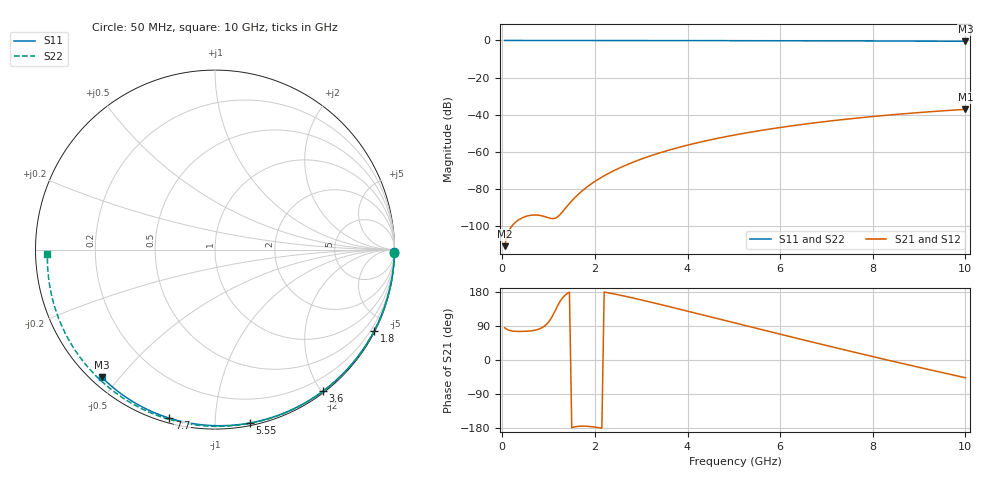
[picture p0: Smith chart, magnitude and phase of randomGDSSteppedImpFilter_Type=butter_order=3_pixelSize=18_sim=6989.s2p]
! freq	dB(S11)	phase(S11)	dB(S12)	phase(S12)
!  dB(S21)	phase(S21)	dB(S22)	phase(S22)
!S-par simulation data
#  GHz  S  DB  R 50
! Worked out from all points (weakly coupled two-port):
!   200 points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, 50 MHz to 10 GHz, reference 50 ohm
!   highest |S21| = -37.17 dB at 10 GHz (marker M1); lowest = -111.0 dB at 50 MHz (marker M2)
!   lowest |S11| = -0.4 dB at 10 GHz (marker M3), VSWR 39.33, Z = 1.53 - j22.5 ohm
!   |S11| at or under -10 dB: nowhere
!   |S22| runs from -0.6 to 0.0 dB; largest |S21 - S12| = 0
!   S11 on the Smith chart (normalised r, x): 50 MHz: open; 1.8 GHz: 0.04, -4.17; 3.6 GHz: 0.02, -2.02; 5.55 GHz: 0.02, -1.22; 7.7 GHz: 0.02, -0.77; 10 GHz: 0.03, -0.45
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0.05  -0.00 -0.8  -110.98 85.0  -110.98 85.0  -0.00 -1.0
0.45  -0.01 -6.8  -95.48 75.5  -95.48 75.5  -0.01 -9.0
0.85  -0.02 -12.9  -94.58 84.7  -94.58 84.7  -0.02 -16.9
1.3  -0.02 -19.6  -92.44 163.9  -92.44 163.9  -0.03 -25.8
1.75  -0.03 -26.2  -80.61 -174.6  -80.61 -174.6  -0.04 -34.5
1.8  -0.03 -27.0  -79.61 -174.7  -79.61 -174.7  -0.04 -35.5
1.95  -0.04 -29.2  -76.88 -176.2  -76.88 -176.2  -0.05 -38.3
2.1  -0.04 -31.3  -74.47 -178.7  -74.47 -178.7  -0.05 -41.2
2.3  -0.04 -34.3  -71.64 177.1  -71.64 177.1  -0.06 -45.0
2.5  -0.05 -37.1  -69.16 172.2  -69.16 172.2  -0.06 -48.8
2.9  -0.06 -42.9  -64.94 161.4  -64.94 161.4  -0.07 -56.2
3.4  -0.07 -49.9  -60.64 146.9  -60.64 146.9  -0.09 -65.4
3.6  -0.07 -52.7  -59.16 141.0  -59.16 141.0  -0.09 -69.0
4.3  -0.09 -62.3  -54.68 119.8  -54.68 119.8  -0.12 -81.4
5.05  -0.11 -72.2  -50.84 96.9  -50.84 96.9  -0.15 -94.4
5.55  -0.13 -78.7  -48.68 81.6  -48.68 81.6  -0.17 -102.8
6.1  -0.15 -85.7  -46.59 65.0  -46.59 65.0  -0.20 -112.0
6.7  -0.18 -93.1  -44.59 47.1  -44.59 47.1  -0.24 -121.9
7.7  -0.24 -105.1  -41.77 17.7  -41.77 17.7  -0.32 -138.4
8.35  -0.29 -112.7  -40.23 -1.0  -40.23 -1.0  -0.38 -149.3
9.2  -0.36 -122.4  -38.52 -25.0  -38.52 -25.0  -0.48 -163.9
10  -0.44 -131.5  -37.17 -46.8  -37.17 -46.8  -0.60 -178.5
